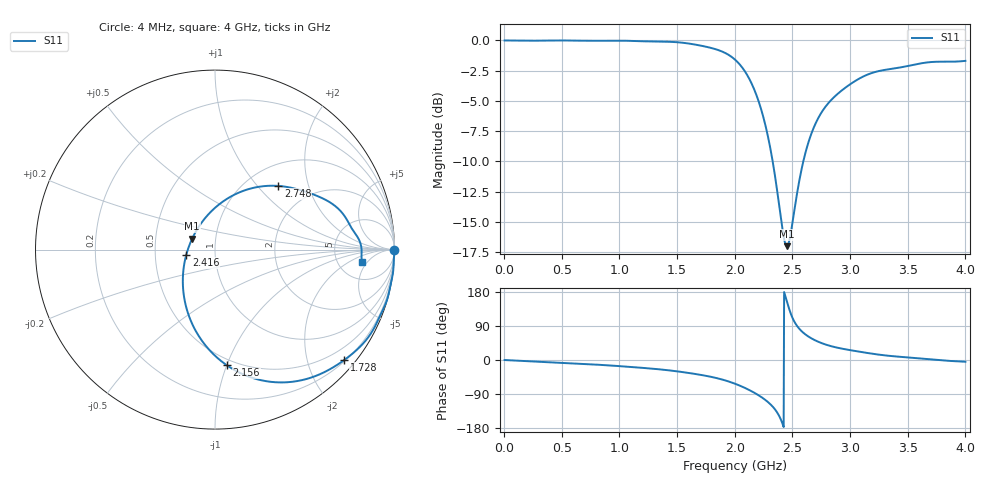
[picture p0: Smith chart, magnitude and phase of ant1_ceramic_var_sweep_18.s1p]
! TOUCHSTONE file generated by CST MICROWAVE STUDIO
! Date and time: Fri May  6 09:22:54 2022
! Project name: ant1_ceramic_sweep_10porcent.cst
! Parameters = {e=0.035; h=1.6; i=0.8; l1=0.5; l2=17; ls=80; wl=1.7; ws=27}
! Header version: 2018
! Port assignment regex: !\s*Touchstone port\s*([0-9]+)\s*=\s*(CST MWS port|CST DS port)\s*([0-9]+|Zmin|Zmax)\s*\(\"(.*)\"\)(\s*mode\s*([0-9]+))?.*
! Touchstone port assignment:
! Touchstone port 1 = CST MWS port 1 ("")
# GHz S DB R 50
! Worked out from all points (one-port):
!   1000 points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, 4 MHz to 4 GHz, reference 50 ohm
!   lowest |S11| = -17.0 dB at 2.452 GHz (marker M1), VSWR 1.33, Z = 38.4 + j4.73 ohm
!   |S11| at or under -10 dB: 2.329 GHz to 2.594 GHz (265.6 MHz wide, 10.8 % of centre)
!   S11 on the Smith chart (normalised r, x): 4 MHz: open; 1.728 GHz: 0.23, -2.69; 2.156 GHz: 0.45, -1.00; 2.416 GHz: 0.72, -0.04; 2.748 GHz: 1.38, +1.30; 4 GHz: 8.81, -3.63
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0.004  -0.00 -0.1
0.504  -0.00 -7.4
1.004  -0.01 -16.3
1.332  -0.09 -24.2
1.504  -0.15 -30.1
1.728  -0.47 -40.5
1.876  -0.86 -50.3
2.004  -1.60 -62.8
2.084  -2.50 -73.1
2.156  -3.77 -84.1
2.232  -5.80 -98.2
2.296  -8.32 -113.2
2.356  -11.65 -133.2
2.416  -15.78 -169.8
2.436  -16.75 171.4
2.452  -17.01 154.7
2.476  -16.42 130.8
2.504  -14.85 108.9
2.56  -11.57 82.3
2.612  -9.32 67.6
2.676  -7.41 55.2
2.748  -6.02 45.2
2.856  -4.73 34.9
3.004  -3.60 25.8
3.216  -2.61 15.5
3.504  -2.10 6.8
3.7  -1.79 1.5
4  -1.69 -4.6
